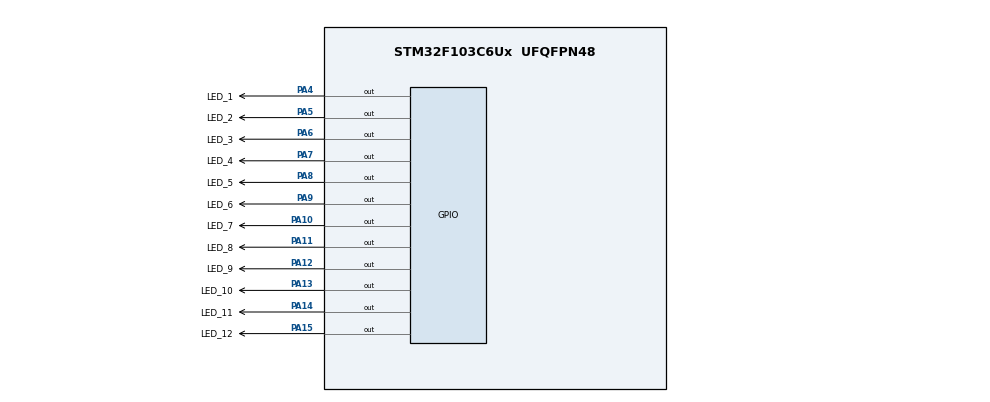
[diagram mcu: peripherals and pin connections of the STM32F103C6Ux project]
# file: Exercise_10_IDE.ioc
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Mcu.Family=STM32F1
Mcu.Name=STM32F103C6Ux
Mcu.Package=UFQFPN48
NVIC.PriorityGroup=NVIC_PRIORITYGROUP_4
PA10.GPIO_Label=LED_7
PA10.PinState=GPIO_PIN_SET
PA10.Signal=GPIO_Output
PA11.GPIO_Label=LED_8
PA11.PinState=GPIO_PIN_SET
PA11.Signal=GPIO_Output
PA12.GPIO_Label=LED_9
PA12.PinState=GPIO_PIN_SET
PA12.Signal=GPIO_Output
PA13.GPIO_Label=LED_10
PA13.PinState=GPIO_PIN_SET
PA13.Signal=GPIO_Output
PA14.GPIO_Label=LED_11
PA14.PinState=GPIO_PIN_SET
PA14.Signal=GPIO_Output
PA15.GPIO_Label=LED_12
PA15.PinState=GPIO_PIN_SET
PA15.Signal=GPIO_Output
PA4.GPIO_Label=LED_1
PA4.PinState=GPIO_PIN_SET
PA4.Signal=GPIO_Output
PA5.GPIO_Label=LED_2
PA5.PinState=GPIO_PIN_SET
PA5.Signal=GPIO_Output
PA6.GPIO_Label=LED_3
PA6.PinState=GPIO_PIN_SET
PA6.Signal=GPIO_Output
PA7.GPIO_Label=LED_4
PA7.PinState=GPIO_PIN_SET
PA7.Signal=GPIO_Output
PA8.GPIO_Label=LED_5
PA8.PinState=GPIO_PIN_SET
PA8.Signal=GPIO_Output
PA9.GPIO_Label=LED_6
PA9.PinState=GPIO_PIN_SET
PA9.Signal=GPIO_Output
ProjectManager.HeapSize=0x200
ProjectManager.StackSize=0x400
ProjectManager.TargetToolchain=STM32CubeIDE
RCC.APB1Freq_Value=8000000
RCC.APB2Freq_Value=8000000
VP_SYS_VS_ND.Mode=No_Debug
board=custom

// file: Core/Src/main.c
/* USER CODE BEGIN Header */
/**
  ******************************************************************************
  * @file           : main.c
  * @brief          : Main program body
  ******************************************************************************
  * @attention
  *
  * Copyright (c) 2026 STMicroelectronics.
  * All rights reserved.
  *
  * This software is licensed under terms that can be found in the LICENSE file
  * in the root directory of this software component.
  * If no LICENSE file comes with this software, it is provided AS-IS.
  *
  ******************************************************************************
  */
/* USER CODE END Header */
#include "main.h"

/* USER CODE BEGIN PV */

static const uint16_t ledPin[12] =
{
    LED_1_Pin,
    LED_2_Pin,
    LED_3_Pin,
    LED_4_Pin,
    LED_5_Pin,
    LED_6_Pin,
    LED_7_Pin,
    LED_8_Pin,
    LED_9_Pin,
    LED_10_Pin,
    LED_11_Pin,
    LED_12_Pin
};

static int hour = 8;
static int minute = 0;
static int second = 1;

/* USER CODE END PV */

void SystemClock_Config(void);
static void MX_GPIO_Init(void);
/* USER CODE BEGIN PFP */

void clearAllClock(void);
void setNumberOnClock(int num);
void clearNumberOnClock(int num);
void displayClock(int hour, int minute, int second);
void increaseTime(void);

/* USER CODE END PFP */

/* USER CODE BEGIN 0 */

void clearAllClock(void)
{
    uint16_t allLEDs =
          LED_1_Pin  | LED_2_Pin  | LED_3_Pin  | LED_4_Pin
        | LED_5_Pin  | LED_6_Pin  | LED_7_Pin  | LED_8_Pin
        | LED_9_Pin  | LED_10_Pin | LED_11_Pin | LED_12_Pin;

    HAL_GPIO_WritePin(GPIOA, allLEDs, GPIO_PIN_SET);
}

void setNumberOnClock(int num)
{
    if (num < 0 || num >= 12) {
        return;
    }

    HAL_GPIO_WritePin(GPIOA, ledPin[num], GPIO_PIN_RESET);
}

void clearNumberOnClock(int num)
{
    if (num < 0 || num >= 12) {
        return;
    }

    HAL_GPIO_WritePin(GPIOA, ledPin[num], GPIO_PIN_SET);
}

void displayClock(int hour, int minute, int second)
{
    int hourPosition;
    int minutePosition;
    int secondPosition;

    if (hour == 0 || hour == 12) {
        hourPosition = 11;
    } else {
        hourPosition = hour - 1;
    }

    minutePosition = ((minute / 5) + 11) % 12;
    secondPosition = ((second / 5) + 11) % 12;

    clearAllClock();

    setNumberOnClock(hourPosition);
    setNumberOnClock(minutePosition);
    setNumberOnClock(secondPosition);
}

void increaseTime(void)
{
    second++;

    if (second >= 60) {
        second = 0;
        minute++;
    }

    if (minute >= 60) {
        minute = 0;
        hour++;
    }

    if (hour > 12) {
        hour = 1;
    }
}

/* USER CODE END 0 */

int main(void)
{

  /* MCU Configuration--------------------------------------------------------*/

  /* Reset of all peripherals, Initializes the Flash interface and the Systick. */
  HAL_Init();

  /* Configure the system clock */
  SystemClock_Config();

  /* Initialize all configured peripherals */
  MX_GPIO_Init();

  /* Infinite loop */
  /* USER CODE BEGIN WHILE */
  while (1)
  {
	  displayClock(hour, minute, second);

	  HAL_Delay(1000);

	  increaseTime();
    /* USER CODE END WHILE */

  }
}

void SystemClock_Config(void)
{
  RCC_OscInitTypeDef RCC_OscInitStruct = {0};
  RCC_ClkInitTypeDef RCC_ClkInitStruct = {0};

  /** Initializes the RCC Oscillators according to the specified parameters
  * in the RCC_OscInitTypeDef structure.
  */
  RCC_OscInitStruct.OscillatorType = RCC_OSCILLATORTYPE_HSI;
  RCC_OscInitStruct.HSIState = RCC_HSI_ON;
  RCC_OscInitStruct.HSICalibrationValue = RCC_HSICALIBRATION_DEFAULT;
  RCC_OscInitStruct.PLL.PLLState = RCC_PLL_NONE;
  if (HAL_RCC_OscConfig(&RCC_OscInitStruct) != HAL_OK)
  {
    Error_Handler();
  }

  /** Initializes the CPU, AHB and APB buses clocks
  */
  RCC_ClkInitStruct.ClockType = RCC_CLOCKTYPE_HCLK|RCC_CLOCKTYPE_SYSCLK
                              |RCC_CLOCKTYPE_PCLK1|RCC_CLOCKTYPE_PCLK2;
  RCC_ClkInitStruct.SYSCLKSource = RCC_SYSCLKSOURCE_HSI;
  RCC_ClkInitStruct.AHBCLKDivider = RCC_SYSCLK_DIV1;
  RCC_ClkInitStruct.APB1CLKDivider = RCC_HCLK_DIV1;
  RCC_ClkInitStruct.APB2CLKDivider = RCC_HCLK_DIV1;

  if (HAL_RCC_ClockConfig(&RCC_ClkInitStruct, FLASH_LATENCY_0) != HAL_OK)
  {
    Error_Handler();
  }
}

static void MX_GPIO_Init(void)
{
  GPIO_InitTypeDef GPIO_InitStruct = {0};

  /* GPIO Ports Clock Enable */
  __HAL_RCC_GPIOA_CLK_ENABLE();

  /*Configure GPIO pin Output Level */
  HAL_GPIO_WritePin(GPIOA, LED_1_Pin|LED_2_Pin|LED_3_Pin|LED_4_Pin
                          |LED_5_Pin|LED_6_Pin|LED_7_Pin|LED_8_Pin
                          |LED_9_Pin|LED_10_Pin|LED_11_Pin|LED_12_Pin, GPIO_PIN_SET);

  /*Configure GPIO pins : LED_1_Pin LED_2_Pin LED_3_Pin LED_4_Pin
                           LED_5_Pin LED_6_Pin LED_7_Pin LED_8_Pin
                           LED_9_Pin LED_10_Pin LED_11_Pin LED_12_Pin */
  GPIO_InitStruct.Pin = LED_1_Pin|LED_2_Pin|LED_3_Pin|LED_4_Pin
                          |LED_5_Pin|LED_6_Pin|LED_7_Pin|LED_8_Pin
                          |LED_9_Pin|LED_10_Pin|LED_11_Pin|LED_12_Pin;
  GPIO_InitStruct.Mode = GPIO_MODE_OUTPUT_PP;
  GPIO_InitStruct.Pull = GPIO_NOPULL;
  GPIO_InitStruct.Speed = GPIO_SPEED_FREQ_LOW;
  HAL_GPIO_Init(GPIOA, &GPIO_InitStruct);

}

void Error_Handler(void)
{
  __disable_irq();
  while (1)
  {
  }
}
